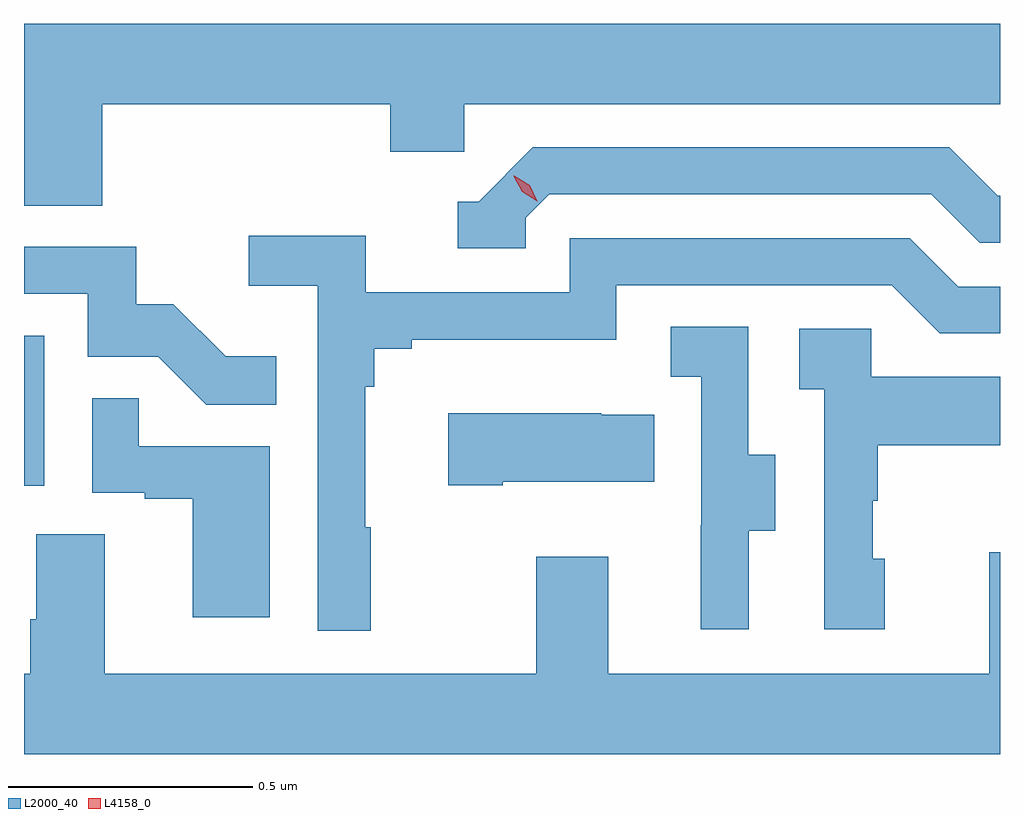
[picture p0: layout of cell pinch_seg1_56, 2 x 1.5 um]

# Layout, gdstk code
import gdstk
lib = gdstk.Library(unit=1e-6, precision=1e-09)
def R(c, l, rs):  # rectangles x0, y0, x1, y1
    for r in rs: c.add(gdstk.rectangle(r[:2], r[2:], *l))
def P(c, l, *ps):  # polygons
    for p in ps: c.add(gdstk.Polygon(p, *l))
L2000_40 = (2000, 40)
L4158_0 = (4158, 0)

pinch_seg1_56 = lib.new_cell('pinch_seg1_56')
R(pinch_seg1_56, L2000_40, [(1053.22,564.27,1053.262,564.577)])
P(pinch_seg1_56, L2000_40, [(1053.38,565.052),(1053.971,565.052),(1053.971,564.954),(1054.122,564.954),(1054.122,565.052),(1055.22,565.052),(1055.22,565.216),(1053.22,565.216),(1053.22,564.844),(1053.38,564.844)],
  [(1054.248,564.819),(1054.296,564.867),(1055.079,564.867),(1055.178,564.768),(1055.22,564.768),(1055.22,564.864),(1055.215,564.864),(1055.116,564.963),(1054.263,564.963),(1054.152,564.852),(1054.109,564.852),(1054.109,564.756),(1054.248,564.756)],
  [(1053.931,564.185),(1053.919,564.185),(1053.919,564.473),(1053.938,564.473),(1053.938,564.55),(1054.015,564.55),(1054.015,564.569),(1054.434,564.569),(1054.434,564.681),(1054.998,564.681),(1055.097,564.582),(1055.22,564.582),(1055.22,564.678),(1055.134,564.678),(1055.035,564.777),(1054.338,564.777),(1054.338,564.666),(1053.92,564.666),(1053.92,564.782),(1053.681,564.782),(1053.681,564.68),(1053.822,564.68),(1053.822,563.973),(1053.931,563.973)],
  [(1053.737,564.535),(1053.633,564.535),(1053.526,564.642),(1053.45,564.642),(1053.45,564.759),(1053.22,564.759),(1053.22,564.663),(1053.351,564.663),(1053.351,564.534),(1053.495,564.534),(1053.593,564.436),(1053.737,564.436)],
  [(1054.705,564.178),(1054.759,564.178),(1054.759,564.333),(1054.704,564.333),(1054.704,564.596),(1054.545,564.596),(1054.545,564.493),(1054.608,564.493),(1054.608,564.189),(1054.607,564.189),(1054.607,563.976),(1054.705,563.976)],
  [(1054.984,564.12),(1054.959,564.12),(1054.959,564.239),(1054.969,564.239),(1054.969,564.353),(1055.22,564.353),(1055.22,564.493),(1054.956,564.493),(1054.956,564.591),(1054.809,564.591),(1054.809,564.467),(1054.86,564.467),(1054.86,563.976),(1054.984,563.976)],
  [(1053.724,564.351),(1053.455,564.351),(1053.455,564.449),(1053.36,564.449),(1053.36,564.255),(1053.467,564.255),(1053.467,564.243),(1053.566,564.243),(1053.566,564),(1053.724,564)],
  [(1054.201,564.278),(1054.511,564.278),(1054.511,564.415),(1054.403,564.415),(1054.403,564.418),(1054.089,564.418),(1054.089,564.271),(1054.201,564.271)],
  [(1055.22,564.133),(1055.198,564.133),(1055.198,563.884),(1054.417,563.884),(1054.417,564.124),(1054.27,564.124),(1054.27,563.884),(1053.385,563.884),(1053.385,564.17),(1053.245,564.17),(1053.245,563.996),(1053.233,563.996),(1053.233,563.884),(1053.22,563.884),(1053.22,563.72),(1055.22,563.72)])
P(pinch_seg1_56, L4158_0, [(1054.272,564.853),(1054.241,564.872),(1054.224,564.904),(1054.224,564.905),(1054.225,564.905),(1054.256,564.886),(1054.272,564.853),(1054.272,564.853)])

lib.write_gds('pinch_seg1_56.gds')
